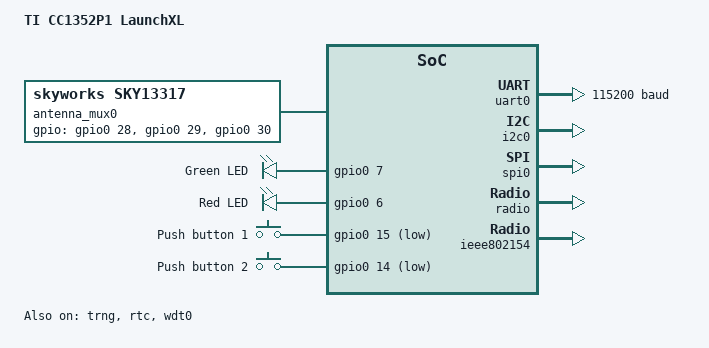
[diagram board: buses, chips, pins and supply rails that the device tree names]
/*
 * Copyright (c) 2021 Florin Stancu
 *
 * SPDX-License-Identifier: Apache-2.0
 */

/dts-v1/;

#include <ti/cc1352r.dtsi>
#include "../cc1352r1_launchxl/boosterpack_connector.dtsi"
#include "cc1352p1_launchxl-pinctrl.dtsi"

/ {
	model = "TI CC1352P1 LaunchXL";
	compatible = "ti,launchxl-cc1352p1";

	aliases {
		led0 = &led0;
		led1 = &led1;
		sw0 = &btn0;
		sw1 = &btn1;
		watchdog0 = &wdt0;
	};

	chosen {
		zephyr,sram = &sram0;
		zephyr,flash = &flash0;
		zephyr,console = &uart0;
		zephyr,shell-uart = &uart0;
		zephyr,ieee802154 = &ieee802154;
	};

	/**
	 * The CC1352P LAUNCHXL has an on-board antenna switch (SKY13317-373LF) used to select the
	 * appropriate RF signal port based on the currently-used PHY.
	 *
	 * Truth table:
	 *
	 * Path        DIO28 DIO29 DIO30
	 * =========== ===== ===== =====
	 * Off         0     0     0
	 * Sub-1 GHz   0     0     1     // DIO30 mux to IOC_PORT_RFC_GPO0 for auto
	 * 2.4 GHz     1     0     0     // DIO28 mux to IOC_PORT_RFC_GPO0 for auto
	 * 20 dBm TX   0     1     0     // DIO29 mux to IOC_PORT_RFC_GPO3 for auto
	 */
	antenna_mux0: antenna_mux0 {
		compatible = "skyworks,sky13317";
		status = "okay";
		gpios = <&gpio0 28 GPIO_ACTIVE_HIGH>, <&gpio0 29 GPIO_ACTIVE_HIGH>, \
				<&gpio0 30 GPIO_ACTIVE_HIGH>;
		pinctrl-0 = <&board_ant_24g_off &board_ant_tx_pa_off &board_ant_subg_off>;
		pinctrl-1 = <&board_ant_24g_on &board_ant_tx_pa_off &board_ant_subg_off>;
		pinctrl-2 = <&board_ant_24g_on &board_ant_tx_pa_on &board_ant_subg_off>;
		pinctrl-3 = <&board_ant_24g_off &board_ant_tx_pa_off &board_ant_subg_on>;
		pinctrl-4 = <&board_ant_24g_off &board_ant_tx_pa_on &board_ant_subg_on>;
		pinctrl-names = "default", "ant_24g", "ant_24g_pa", "ant_subg", "ant_subg_pa";
	};

	leds {
		compatible = "gpio-leds";
		led0: led_0 {
			gpios = <&gpio0 7 GPIO_ACTIVE_HIGH>;
			label = "Green LED";
		};
		led1: led_1 {
			gpios = <&gpio0 6 GPIO_ACTIVE_HIGH>;
			label = "Red LED";
		};
	};

	keys {
		compatible = "gpio-keys";
		btn0: btn_0 {
			gpios = <&gpio0 15 (GPIO_ACTIVE_LOW | GPIO_PULL_UP)>;
			label = "Push button 1";
		};
		btn1: btn_1 {
			gpios = <&gpio0 14 (GPIO_ACTIVE_LOW | GPIO_PULL_UP)>;
			label = "Push button 2";
		};
	};

	power-states {
		idle: idle {
			compatible = "zephyr,power-state";
			power-state-name = "suspend-to-idle";
			min-residency-us = <1000>;
		};

		standby: standby {
			compatible = "zephyr,power-state";
			power-state-name = "standby";
			min-residency-us = <5000>;
			exit-latency-us = <240>;
		};
	};
};

&cpu0 {
	clock-frequency = <48000000>;
	cpu-power-states = <&idle &standby>;
};

&trng {
	status = "okay";
};

&gpio0 {
	status = "okay";
};

&uart0 {
	status = "okay";
	current-speed = <115200>;
	pinctrl-0 = <&uart0_rx_default &uart0_tx_default>;
	pinctrl-names = "default";
};

&i2c0 {
	status = "okay";
	pinctrl-0 = <&i2c0_scl_default &i2c0_sda_default>;
	pinctrl-1 = <&i2c0_scl_sleep &i2c0_sda_sleep>;
	pinctrl-names = "default", "sleep";
};

&spi0 {
	status = "okay";
	pinctrl-0 = <&spi0_sck_default &spi0_mosi_default
				 &spi0_miso_default &spi0_cs_default>;
	pinctrl-names = "default";
	cs-gpios = <&gpio0 11 GPIO_ACTIVE_LOW>;
};

&rtc {
	status = "okay";
};

&radio {
	status = "okay";
};

&ieee802154 {
	status = "okay";
};

&ieee802154g {
	status = "disabled";
};

&wdt0 {
	status = "okay";
};
